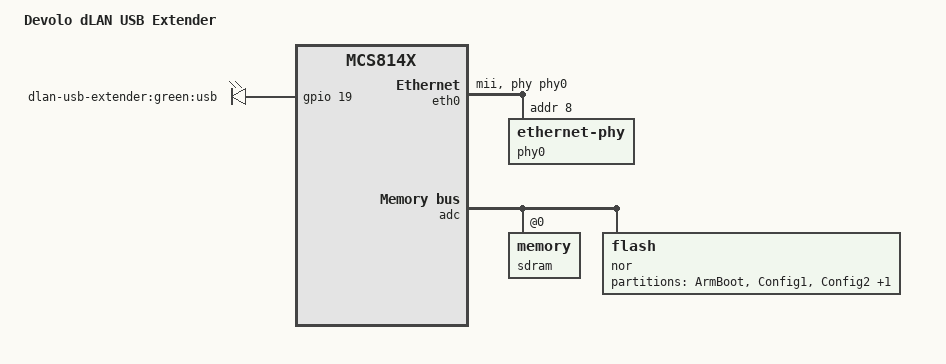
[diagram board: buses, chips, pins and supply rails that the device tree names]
/*
 * dlan-usb-extender.dts - Device Tree file for Devolo dLAN USB Extender
 *
 * Copyright (C) 2012, Florian Fainelli <florian@openwrt.org>
 *
 * Licensed under GPLv2
 */

/dts-v1/;
#include "mcs8140.dtsi"

/ {
	model = "Devolo dLAN USB Extender";
	compatible = "devolo,dlan-usb-extender", "moschip,mcs8140", "moschip,mcs814x";

	chosen {
		bootargs = "mem=16M console=ttyS0,57600 earlyprintk";
	};

	ahb {
		vci {
			eth0: ethernet@40084000 {
				phy = <&phy0>;
				phy-mode = "mii";

				phy0: ethernet-phy@0 {
					reg = <8>;
				};
			};

			adc {
				sdram: memory@0,0 {
					reg = <0 0 0x1000000>;
				};

				nor: flash@7,0 {

					partition@0 {
						label = "ArmBoot";
						reg = <0 0x30000>;
					};
					partition@30000 {
						label = "Config1";
						reg = <0x30000 0x10000>;
					};
					partition@40000 {
						label = "Config2";
						reg = <0x40000 0x10000>;
					};
					partition@50000 {
						label = "linux";
						reg = <0x50000 0x4C0000>;
					};
				};
			};

			leds {
				compatible = "gpio-leds";

				usb {
					label = "dlan-usb-extender:green:usb";
					gpios = <&gpio 19 0>;	// gpio 19 active high
				};
			};
		};
	};
};

